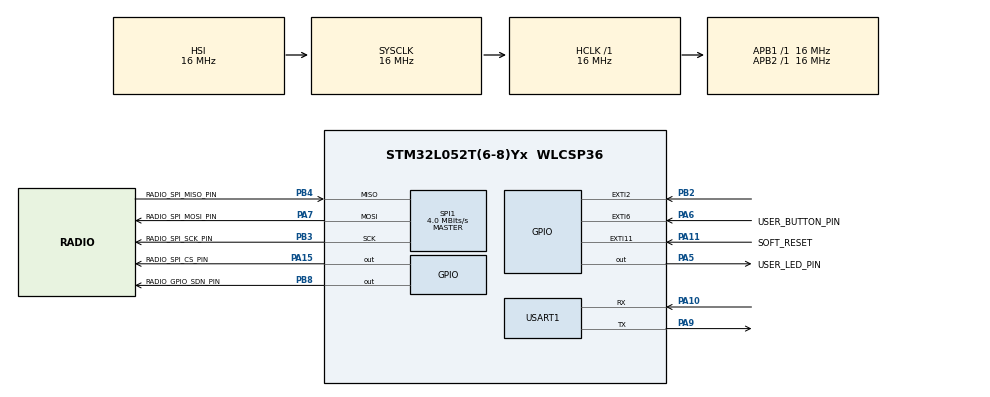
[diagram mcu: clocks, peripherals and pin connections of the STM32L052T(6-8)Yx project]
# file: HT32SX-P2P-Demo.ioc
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Dma.Request0=USART1_RX
Dma.USART1_RX.0.Direction=DMA_PERIPH_TO_MEMORY
Dma.USART1_RX.0.Instance=DMA1_Channel3
Dma.USART1_RX.0.MemDataAlignment=DMA_MDATAALIGN_BYTE
Dma.USART1_RX.0.MemInc=DMA_MINC_ENABLE
Dma.USART1_RX.0.Mode=DMA_CIRCULAR
Dma.USART1_RX.0.PeriphDataAlignment=DMA_PDATAALIGN_BYTE
Dma.USART1_RX.0.PeriphInc=DMA_PINC_DISABLE
Dma.USART1_RX.0.Priority=DMA_PRIORITY_HIGH
Mcu.Family=STM32L0
Mcu.Name=STM32L052T(6-8)Yx
Mcu.Package=WLCSP36
NVIC.ADC1_COMP_IRQn=true\:0\:0\:false\:false\:true\:true\:true
NVIC.DMA1_Channel2_3_IRQn=true\:0\:0\:false\:false\:true\:false\:true
NVIC.EXTI2_3_IRQn=true\:0\:0\:false\:false\:true\:true\:true
NVIC.EXTI4_15_IRQn=true\:2\:0\:true\:false\:true\:true\:true
NVIC.RTC_IRQn=true\:0\:0\:false\:false\:true\:true\:true
NVIC.TIM22_IRQn=true\:0\:0\:false\:false\:true\:true\:true
PA10.Mode=Asynchronous
PA10.Signal=USART1_RX
PA11.GPIO_Label=SOFT_RESET
PA11.GPIO_ModeDefaultEXTI=GPIO_MODE_IT_FALLING
PA11.GPIO_PuPd=GPIO_PULLUP
PA11.Signal=GPXTI11
PA13.Mode=Serial_Wire
PA13.Signal=SYS_SWDIO
PA14.Mode=Serial_Wire
PA14.Signal=SYS_SWCLK
PA15.GPIO_Label=RADIO_SPI_CS_PIN
PA15.GPIO_PuPd=GPIO_PULLUP
PA15.GPIO_Speed=GPIO_SPEED_FREQ_HIGH
PA15.PinState=GPIO_PIN_SET
PA15.Signal=GPIO_Output
PA5.GPIO_Label=USER_LED_PIN
PA5.GPIO_Speed=GPIO_SPEED_FREQ_VERY_HIGH
PA5.Signal=GPIO_Output
PA6.GPIO_Label=USER_BUTTON_PIN
PA6.GPIO_ModeDefaultEXTI=GPIO_MODE_IT_FALLING
PA6.GPIO_PuPd=GPIO_PULLUP
PA6.Signal=GPXTI6
PA7.GPIO_Label=RADIO_SPI_MOSI_PIN
PA7.Mode=Full_Duplex_Master
PA7.Signal=SPI1_MOSI
PA9.Mode=Asynchronous
PA9.Signal=USART1_TX
PB2.GPIO_ModeDefaultEXTI=GPIO_MODE_IT_FALLING
PB2.Signal=GPXTI2
PB3.GPIO_Label=RADIO_SPI_SCK_PIN
PB3.Mode=Full_Duplex_Master
PB3.Signal=SPI1_SCK
PB4.GPIO_Label=RADIO_SPI_MISO_PIN
PB4.Mode=Full_Duplex_Master
PB4.Signal=SPI1_MISO
PB8.GPIO_Label=RADIO_GPIO_SDN_PIN
PB8.GPIO_Speed=GPIO_SPEED_FREQ_HIGH
PB8.Signal=GPIO_Output
ProjectManager.HeapSize=0x200
ProjectManager.StackSize=0x400
ProjectManager.TargetToolchain=STM32CubeIDE
RCC.AHBFreq_Value=16000000
RCC.APB1Freq_Value=16000000
RCC.APB1TimFreq_Value=16000000
RCC.APB2Freq_Value=16000000
RCC.APB2TimFreq_Value=16000000
RCC.HCLKFreq_Value=16000000
RCC.HSI16_VALUE=16000000
RCC.HSI48_VALUE=48000000
RCC.HSI_VALUE=16000000
RCC.LSE_VALUE=32768
RCC.MSI_VALUE=2097000
RCC.PLLMUL=RCC_PLLMUL_4
RCC.SYSCLKFreq_VALUE=16000000
RCC.SYSCLKSource=RCC_SYSCLKSOURCE_HSI
RCC.VCOOutputFreq_Value=64000000
RTC.AsynchPrediv=124
RTC.Format=RTC_FORMAT_BIN
RTC.SynchPrediv=295
RTC.WakeUpClock=RTC_WAKEUPCLOCK_CK_SPRE_16BITS
SPI1.BaudRatePrescaler=SPI_BAUDRATEPRESCALER_4
SPI1.CalculateBaudRate=4.0 MBits/s
SPI1.Direction=SPI_DIRECTION_2LINES
SPI1.Mode=SPI_MODE_MASTER
SPI1.VirtualType=VM_MASTER
TIM22.AutoReloadPreload=TIM_AUTORELOAD_PRELOAD_DISABLE
TIM22.Period=3000-1
TIM22.Prescaler=16000-1
TIM22.TIM_MasterOutputTrigger=TIM_TRGO_RESET
USART1.VirtualMode-Asynchronous=VM_ASYNC
VP_ADC_TempSens_Input.Mode=IN-TempSens
VP_ADC_Vref_Input.Mode=IN-Vrefint
VP_RTC_VS_RTC_Activate.Mode=RTC_Enabled
VP_RTC_VS_RTC_Calendar.Mode=RTC_Calendar
VP_RTC_VS_RTC_WakeUp_intern.Mode=WakeUp
VP_TIM22_VS_ClockSourceINT.Mode=Internal
board=custom

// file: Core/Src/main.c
/* USER CODE BEGIN Header */
/**
 ******************************************************************************
 * @file           : main.c
 * @brief          : Main program body
 ******************************************************************************
 * @attention
 *
 * <h2><center>&copy; Copyright (c) 2020 STMicroelectronics.
 * All rights reserved.</center></h2>
 *
 * This software component is licensed by ST under BSD 3-Clause license,
 * the "License"; You may not use this file except in compliance with the
 * License. You may obtain a copy of the License at:
 *                        opensource.org/licenses/BSD-3-Clause
 *
 ******************************************************************************
 */
/* USER CODE END Header */

#include "main.h"
#include "adc.h"
#include "dma.h"
#include "rtc.h"
#include "spi.h"
#include "tim.h"
#include "usart.h"
#include "gpio.h"

/* USER CODE BEGIN Includes */
#include "HT_P2P_app.h"
#include "HT_Equipment_App.h"
/* USER CODE END Includes */

void SystemClock_Config(void);

/* USER CODE BEGIN 0 */

#ifdef MASTER_DEVICE
extern uint8_t usart_buffer[2];
#endif

/* USER CODE END 0 */

int main(void)
{

  /* MCU Configuration--------------------------------------------------------*/

  /* Reset of all peripherals, Initializes the Flash interface and the Systick. */
  HAL_Init();

  /* Configure the system clock */
  SystemClock_Config();

  /* Initialize all configured peripherals */
  MX_GPIO_Init();
  MX_DMA_Init();
  MX_SPI1_Init();
  MX_USART1_UART_Init();
  MX_ADC_Init();
  MX_RTC_Init();
  MX_TIM22_Init();
  /* USER CODE BEGIN 2 */

#ifdef MASTER_DEVICE
	printf("HT32SX MASTER Device - Address: 0x%02X.\n", MY_ADDRESS);

	HAL_UART_Receive_DMA(&huart1, usart_buffer, sizeof(usart_buffer));
#else
	printf("HT32SX SLAVE Device -- Address %X.\n", MY_ADDRESS);

	if(__HAL_PWR_GET_FLAG(PWR_FLAG_SB))
		__HAL_PWR_CLEAR_FLAG(PWR_FLAG_SB);

#endif

	HAL_Radio_Init();

	HT_P2P_Init();

  /* USER CODE END 2 */

  /* Infinite loop */
	while (1)
	{

    /* USER CODE BEGIN 3 */
#ifdef MASTER_DEVICE
		HT_Master_Fsm();
#else
		HT_Slave_Fsm();
#endif
	}
  /* USER CODE END 3 */
}

void SystemClock_Config(void)
{
  RCC_OscInitTypeDef RCC_OscInitStruct = {0};
  RCC_ClkInitTypeDef RCC_ClkInitStruct = {0};
  RCC_PeriphCLKInitTypeDef PeriphClkInit = {0};

  /** Configure the main internal regulator output voltage
  */
  __HAL_PWR_VOLTAGESCALING_CONFIG(PWR_REGULATOR_VOLTAGE_SCALE1);
  /** Initializes the CPU, AHB and APB busses clocks
  */
  RCC_OscInitStruct.OscillatorType = RCC_OSCILLATORTYPE_HSI|RCC_OSCILLATORTYPE_LSI;
  RCC_OscInitStruct.HSIState = RCC_HSI_ON;
  RCC_OscInitStruct.HSICalibrationValue = RCC_HSICALIBRATION_DEFAULT;
  RCC_OscInitStruct.LSIState = RCC_LSI_ON;
  RCC_OscInitStruct.PLL.PLLState = RCC_PLL_NONE;
  if (HAL_RCC_OscConfig(&RCC_OscInitStruct) != HAL_OK)
  {
    Error_Handler();
  }
  /** Initializes the CPU, AHB and APB busses clocks
  */
  RCC_ClkInitStruct.ClockType = RCC_CLOCKTYPE_HCLK|RCC_CLOCKTYPE_SYSCLK
                              |RCC_CLOCKTYPE_PCLK1|RCC_CLOCKTYPE_PCLK2;
  RCC_ClkInitStruct.SYSCLKSource = RCC_SYSCLKSOURCE_HSI;
  RCC_ClkInitStruct.AHBCLKDivider = RCC_SYSCLK_DIV1;
  RCC_ClkInitStruct.APB1CLKDivider = RCC_HCLK_DIV1;
  RCC_ClkInitStruct.APB2CLKDivider = RCC_HCLK_DIV1;

  if (HAL_RCC_ClockConfig(&RCC_ClkInitStruct, FLASH_LATENCY_0) != HAL_OK)
  {
    Error_Handler();
  }
  PeriphClkInit.PeriphClockSelection = RCC_PERIPHCLK_USART1|RCC_PERIPHCLK_RTC;
  PeriphClkInit.Usart1ClockSelection = RCC_USART1CLKSOURCE_PCLK2;
  PeriphClkInit.RTCClockSelection = RCC_RTCCLKSOURCE_LSI;
  if (HAL_RCCEx_PeriphCLKConfig(&PeriphClkInit) != HAL_OK)
  {
    Error_Handler();
  }
}

void Error_Handler(void)
{
}

/************************ (C) COPYRIGHT STMicroelectronics *****END OF FILE****/
